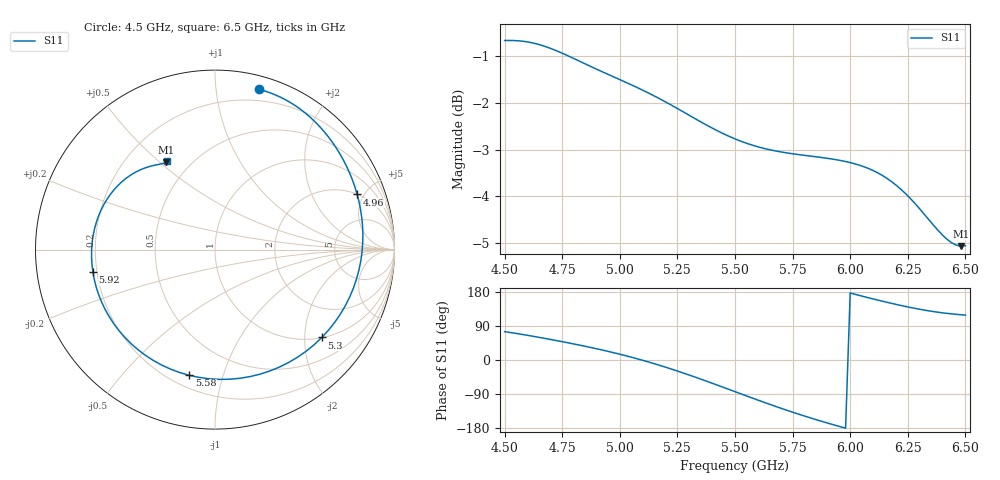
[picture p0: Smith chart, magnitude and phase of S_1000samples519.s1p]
! TOUCHSTONE file generated by CST MICROWAVE STUDIO
! Date and time: Fri Oct 28 10:57:19 2022
! Project name: L.cst
! Parameters = {Di=1.27; Epsilon_r=1.56; InnerDiameter=1.27; Length=2; Lf=10; Lg=60; OuterConductorThickness=0.2921; OuterDiameter=3.6; Wf=3; Wp=41.2; de=1.5; df=6.8; g=0.8; gx=3.45405; gy=1.31204; h=2.34; hf=1.524; px=10.734; py=11.0962; w=9.7; wx=7.27991; wy=9.78415}
! Header version: 2018
! Port assignment regex: !\s*Touchstone port\s*([0-9]+)\s*=\s*(CST MWS port|CST DS port)\s*([0-9]+|Zmin|Zmax)\s*\(\"(.*)\"\)(\s*mode\s*([0-9]+))?.*
! Touchstone port assignment:
! Touchstone port 1 = CST MWS port 1 ("")
# GHz S DB R 50
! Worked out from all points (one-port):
!   101 points, 4.5 GHz to 6.5 GHz, reference 50 ohm
!   lowest |S11| = -5.1 dB at 6.48 GHz (marker M1), VSWR 3.52, Z = 18.5 + j26.1 ohm
!   |S11| at or under -10 dB: nowhere
!   S11 on the Smith chart (normalised r, x): 4.5 GHz: 0.10, +1.30; 4.96 GHz: 2.02, +4.47; 5.3 GHz: 1.01, -2.43; 5.58 GHz: 0.27, -0.78; 5.92 GHz: 0.18, -0.09; 6.5 GHz: 0.37, +0.53
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4.5  -0.67 74.8
4.62  -0.72 62.9
4.76  -0.96 47.2
4.86  -1.19 34.8
4.96  -1.42 21.2
5  -1.50 15.3
5.08  -1.68 2.5
5.14  -1.83 -8.0
5.2  -1.99 -19.2
5.26  -2.15 -31.2
5.3  -2.26 -39.4
5.36  -2.43 -52.3
5.4  -2.54 -61.1
5.46  -2.69 -74.5
5.5  -2.77 -83.5
5.58  -2.91 -101.5
5.66  -3.01 -118.9
5.76  -3.10 -139.7
5.84  -3.15 -155.1
5.92  -3.20 -169.6
6  -3.28 176.8
6.06  -3.37 167.2
6.14  -3.56 155.1
6.2  -3.77 146.6
6.26  -4.04 138.8
6.38  -4.72 126.2
6.48  -5.07 119.5
6.5  -5.06 118.4
